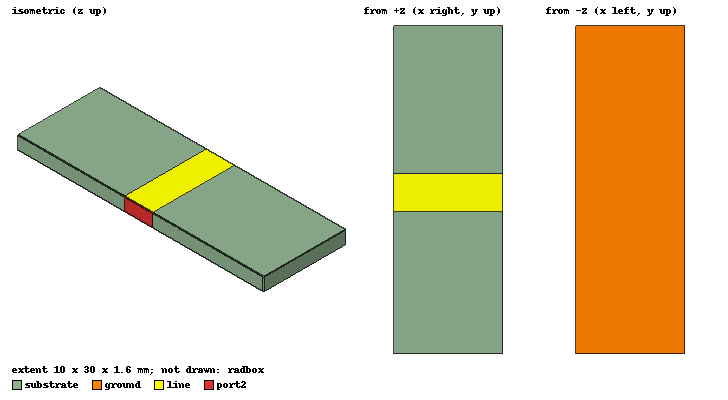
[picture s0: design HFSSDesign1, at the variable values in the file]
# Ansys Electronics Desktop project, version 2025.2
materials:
  vacuum: permittivity=1
  Isola FR408HR: permittivity=3.68 dielectric_loss_tangent=0.0092
  air: permittivity=1.0006 permeability=1.0000004

design HFSSDesign1 (HFSS, HFSS Terminal Network, model units mm)
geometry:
  ground = rectangle(corner=(0mm, -10mm, 0mm), x_size=10mm, y_size=30mm)
  substrate [Isola FR408HR] = box(corner=(0mm, 20mm, 0mm), size=(10mm, -30mm, 1.6mm))
  line = rectangle(corner=(0mm, 3mm, 1.6mm), x_size=10mm, y_size=3.44mm)
  radbox [air] = box(corner=(-10mm, -20mm, -10mm), size=(30mm, 50mm, 20mm))
  port1 = rectangle(corner=(0mm, 6.44mm, 1.6mm), y_size=-3.44mm, z_size=-1.6mm)
  port2 = rectangle(corner=(10mm, 3mm, 1.6mm), y_size=3.44mm, z_size=-1.6mm)
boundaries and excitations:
  PerfE1: Perfect E Objects=[ground, line]
  Rad1: Radiation Objects=radbox
  1: Lumped Port Objects=port1 LumpedPortType=Modal Modes{Mode1{IntLine{(0, 5.4, 1.6) -> (0, 5.4, 0)} CharImp=Zpi RenormImp=50ohm}} Impedance=50ohm
  2: Lumped Port Objects=port2 LumpedPortType=Modal Modes{Mode1{IntLine{(10, 5, 1.6) -> (10, 5, 0)} CharImp=Zpi RenormImp=50ohm}} Impedance=50ohm
  reference conductors: ground
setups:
  Setup1: HfssDrivenAuto AutoSolverSetting=Balanced SaveAnyFields=false Type=Discrete
    sweep Sweep: 1GHz to 10GHz, 300 points;
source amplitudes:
  1:1: 1V 0deg
  2:1: 0V 0deg
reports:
  S Parameter Plot1: dB(S(1,1)), dB(S(2,1)), dB(S(1,2)), dB(S(2,2)) vs Freq on Setup1 : Sweep
